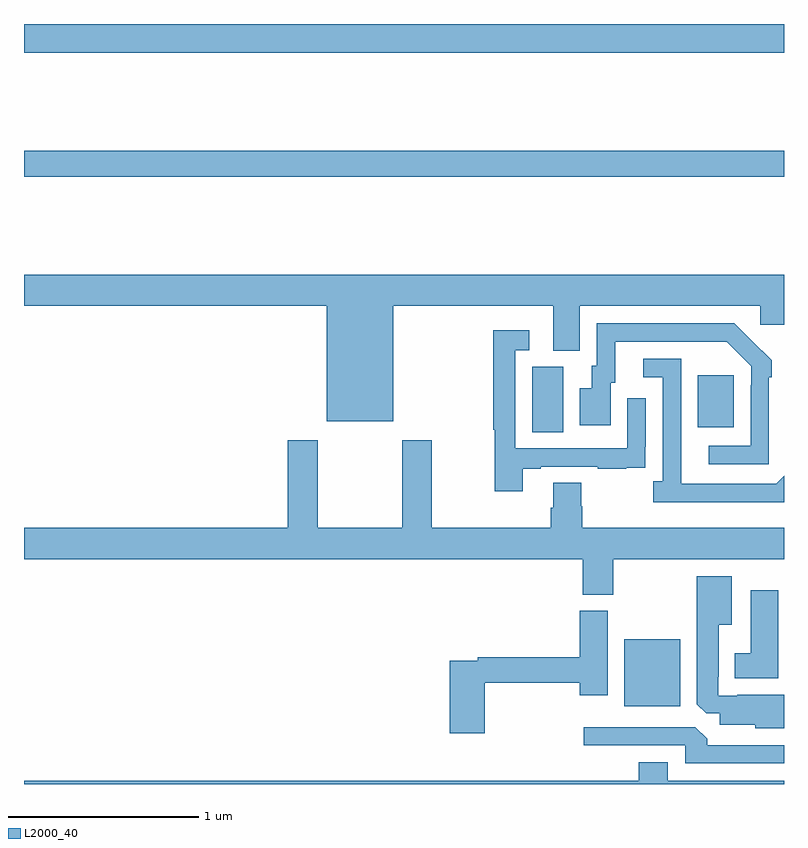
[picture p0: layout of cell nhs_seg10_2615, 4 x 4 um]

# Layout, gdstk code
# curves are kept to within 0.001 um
import gdstk
lib = gdstk.Library(unit=1e-6, precision=1e-09)
def R(c, l, rs):  # rectangles x0, y0, x1, y1
    for r in rs: c.add(gdstk.rectangle(r[:2], r[2:], *l))
def P(c, l, *ps):  # polygons
    for p in ps: c.add(gdstk.Polygon(p, *l))
L2000_40 = (2000, 40)

nhs_seg10_2615 = lib.new_cell('nhs_seg10_2615')
R(nhs_seg10_2615, L2000_40, [(256.16,1264.91,256.453,1265.263), (255.674,1266.352,255.838,1266.696), (256.547,1266.377,256.735,1266.652), (253,1267.696,257,1267.832), (253,1268.348,257,1268.5)])
P(nhs_seg10_2615, L2000_40, [(253,1267.016),(254.594,1267.016),(254.594,1266.41),(254.944,1266.41),(254.944,1267.016),(255.785,1267.016),(255.785,1266.781),(255.925,1266.781),(255.925,1267.016),(256.875,1267.016),(256.875,1266.918),(257,1266.918),(257,1267.18),(253,1267.18)],
  [(256.92,1266.641),(256.935,1266.641),(256.935,1266.729),(256.738,1266.924),(256.014,1266.924),(256.014,1266.702),(255.989,1266.702),(255.989,1266.583),(255.926,1266.583),(255.926,1266.387),(256.087,1266.387),(256.087,1266.612),(256.111,1266.612),(256.111,1266.828),(256.699,1266.828),(256.827,1266.699),(256.827,1266.599),(256.824,1266.599),(256.824,1266.279),(256.605,1266.279),(256.605,1266.183),(256.92,1266.183)],
  [(255.625,1266.159),(255.721,1266.159),(255.721,1266.171),(256.021,1266.171),(256.021,1266.159),(256.169,1266.159),(256.169,1266.165),(256.271,1266.165),(256.271,1266.274),(256.272,1266.274),(256.272,1266.529),(256.176,1266.529),(256.176,1266.267),(255.585,1266.267),(255.585,1266.783),(255.658,1266.783),(255.658,1266.889),(255.469,1266.889),(255.469,1266.364),(255.477,1266.364),(255.477,1266.042),(255.625,1266.042)],
  [(257,1266.122),(256.959,1266.081),(256.459,1266.081),(256.458,1266.738),(256.26,1266.738),(256.26,1266.642),(256.362,1266.642),(256.362,1266.094),(256.311,1266.094),(256.311,1265.984),(257,1265.984)],
  [(256.101,1265.684),(257,1265.684),(257,1265.848),(255.938,1265.848),(255.938,1265.961),(255.933,1265.961),(255.933,1266.086),(255.785,1266.086),(255.785,1265.954),(255.773,1265.954),(255.773,1265.848),(255.147,1265.848),(255.147,1266.31),(254.992,1266.31),(254.992,1265.848),(254.547,1265.848),(254.547,1266.31),(254.387,1266.31),(254.387,1265.848),(253,1265.848),(253,1265.684),(255.941,1265.684),(255.941,1265.497),(256.101,1265.497)],
  [(257,1264.969),(256.753,1264.969),(256.753,1264.965),(256.653,1264.965),(256.653,1265.065),(256.657,1265.065),(256.657,1265.339),(256.726,1265.339),(256.726,1265.593),(256.541,1265.593),(256.541,1264.921),(256.59,1264.872),(256.661,1264.872),(256.661,1264.811),(256.848,1264.811),(256.848,1264.793),(257,1264.793)],
  [(256.969,1265.521),(256.826,1265.521),(256.826,1265.188),(256.742,1265.188),(256.742,1265.057),(256.969,1265.057)],
  [(255.425,1265.032),(255.926,1265.032),(255.926,1264.968),(256.072,1264.968),(256.072,1265.412),(255.926,1265.412),(255.926,1265.168),(255.388,1265.168),(255.388,1265.148),(255.242,1265.148),(255.242,1264.767),(255.425,1264.767)],
  [(257,1264.704),(256.595,1264.704),(256.595,1264.738),(256.533,1264.8),(255.945,1264.8),(255.945,1264.704),(256.479,1264.704),(256.479,1264.608),(257,1264.608)],
  [(257,1264.516),(256.387,1264.516),(256.387,1264.615),(256.235,1264.615),(256.235,1264.516),(253,1264.516),(253,1264.5),(257,1264.5)])

lib.write_gds('nhs_seg10_2615.gds')
